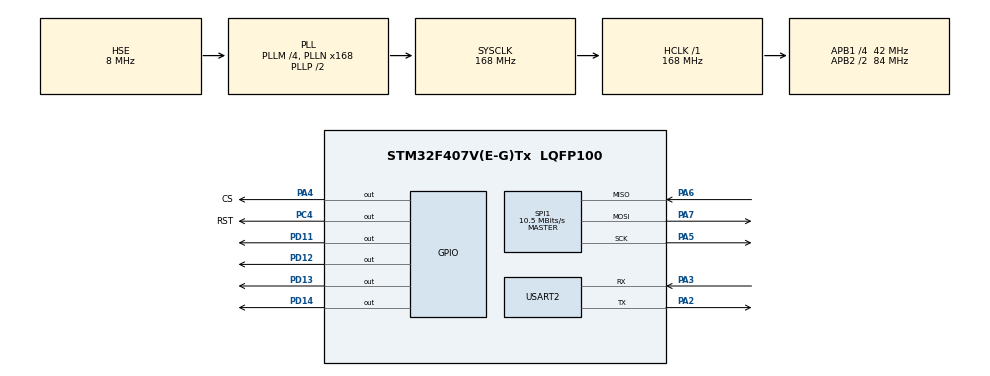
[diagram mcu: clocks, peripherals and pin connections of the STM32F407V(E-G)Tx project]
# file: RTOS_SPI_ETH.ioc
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FREERTOS.Tasks01=defaultTask,40,128,StartDefaultTask,Default,NULL,Dynamic,NULL,NULL;myTask02,24,128,StartTask02,Default,NULL,Dynamic,NULL,NULL;myTask03,8,128,StartTask03,Default,NULL,Dynamic,NULL,NULL
Mcu.Family=STM32F4
Mcu.Name=STM32F407V(E-G)Tx
Mcu.Package=LQFP100
NVIC.PriorityGroup=NVIC_PRIORITYGROUP_4
NVIC.TIM6_DAC_IRQn=true\:15\:0\:false\:false\:true\:false\:false\:true
NVIC.TimeBase=TIM6_DAC_IRQn
NVIC.TimeBaseIP=TIM6
PA13.Mode=Serial_Wire
PA13.Signal=SYS_JTMS-SWDIO
PA14.Mode=Serial_Wire
PA14.Signal=SYS_JTCK-SWCLK
PA2.Mode=Asynchronous
PA2.Signal=USART2_TX
PA3.Mode=Asynchronous
PA3.Signal=USART2_RX
PA4.GPIO_Label=CS
PA4.Signal=GPIO_Output
PA5.Mode=Full_Duplex_Master
PA5.Signal=SPI1_SCK
PA6.Mode=Full_Duplex_Master
PA6.Signal=SPI1_MISO
PA7.Mode=Full_Duplex_Master
PA7.Signal=SPI1_MOSI
PC4.GPIO_Label=RST
PC4.Signal=GPIO_Output
PD11.Signal=GPIO_Output
PD12.Signal=GPIO_Output
PD13.Signal=GPIO_Output
PD14.Signal=GPIO_Output
PH0-OSC_IN.Mode=HSE-External-Oscillator
PH0-OSC_IN.Signal=RCC_OSC_IN
PH1-OSC_OUT.Mode=HSE-External-Oscillator
PH1-OSC_OUT.Signal=RCC_OSC_OUT
ProjectManager.HeapSize=0x200
ProjectManager.StackSize=0x400
ProjectManager.TargetToolchain=SW4STM32
RCC.48MHZClocksFreq_Value=84000000
RCC.AHBFreq_Value=168000000
RCC.APB1CLKDivider=RCC_HCLK_DIV4
RCC.APB1Freq_Value=42000000
RCC.APB1TimFreq_Value=84000000
RCC.APB2CLKDivider=RCC_HCLK_DIV2
RCC.APB2Freq_Value=84000000
RCC.APB2TimFreq_Value=168000000
RCC.CortexFreq_Value=168000000
RCC.HCLKFreq_Value=168000000
RCC.HSE_VALUE=8000000
RCC.HSI_VALUE=16000000
RCC.LSE_VALUE=32768
RCC.PLLM=4
RCC.PLLN=168
RCC.PLLSourceVirtual=RCC_PLLSOURCE_HSE
RCC.SYSCLKFreq_VALUE=168000000
RCC.SYSCLKSource=RCC_SYSCLKSOURCE_PLLCLK
RCC.VCOOutputFreq_Value=336000000
SPI1.BaudRatePrescaler=SPI_BAUDRATEPRESCALER_8
SPI1.CalculateBaudRate=10.5 MBits/s
SPI1.Direction=SPI_DIRECTION_2LINES
SPI1.Mode=SPI_MODE_MASTER
SPI1.VirtualType=VM_MASTER
USART2.VirtualMode=VM_ASYNC
VP_FREERTOS_VS_CMSIS_V2.Mode=CMSIS_V2
VP_SYS_VS_tim6.Mode=TIM6
board=custom

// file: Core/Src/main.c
/* USER CODE BEGIN Header */
/**
 ******************************************************************************
 * @file           : main.c
 * @brief          : Main program body
 ******************************************************************************
 * @attention
 *
 * <h2><center>&copy; Copyright (c) 2021 STMicroelectronics.
 * All rights reserved.</center></h2>
 *
 * This software component is licensed by ST under Ultimate Liberty license
 * SLA0044, the "License"; You may not use this file except in compliance with
 * the License. You may obtain a copy of the License at:
 *                             www.st.com/SLA0044
 *
 ******************************************************************************
 */
/* USER CODE END Header */
#include "main.h"
#include "cmsis_os.h"

/* USER CODE BEGIN Includes */
#include <string.h>
#include "STM_ENC28_J60.h"
#include <stdio.h>
/* USER CODE END Includes */

SPI_HandleTypeDef hspi1;

UART_HandleTypeDef huart2;

/* Definitions for defaultTask */
osThreadId_t defaultTaskHandle;
const osThreadAttr_t defaultTask_attributes = { .name = "defaultTask",
		.stack_size = 128 * 4, .priority = (osPriority_t) osPriorityHigh, };
/* Definitions for myTask02 */
osThreadId_t myTask02Handle;
const osThreadAttr_t myTask02_attributes = { .name = "myTask02", .stack_size =
		128 * 4, .priority = (osPriority_t) osPriorityNormal, };
/* Definitions for myTask03 */
osThreadId_t myTask03Handle;
const osThreadAttr_t myTask03_attributes = { .name = "myTask03", .stack_size =
		128 * 4, .priority = (osPriority_t) osPriorityLow, };

void SystemClock_Config(void);
static void MX_GPIO_Init(void);
static void MX_USART2_UART_Init(void);
static void MX_SPI1_Init(void);
void StartDefaultTask(void *argument);
void StartTask02(void *argument);
void StartTask03(void *argument);

/* USER CODE BEGIN 0 */
char msg[50] = "System is ok\r\n";
uint8_t spiData[2];

uint8_t MAC[6];

uint8_t ARP_req[42] = {0xff,0xff,0xff,0xff,0xff,0xff, 0x74,0x69,0x69,0x2D,0x30,0x36, 0x08,0x06, 0x00,0x01,
						0x08,0x00,0x06,0x04,0x00,0x01, 0x74,0x69,0x69,0x2D,0x30,0x36, 0xc0,0xa8,0x01,100,
						0x00,0x00,0x00,0x00,0x00,0x00, 0xc0, 0xa8, 0x01, 1 };

/* USER CODE END 0 */

int main(void) {

	/* MCU Configuration--------------------------------------------------------*/

	/* Reset of all peripherals, Initializes the Flash interface and the Systick. */
	HAL_Init();

	/* Configure the system clock */
	SystemClock_Config();

	/* Initialize all configured peripherals */
	MX_GPIO_Init();
	MX_USART2_UART_Init();
	MX_SPI1_Init();
	/* USER CODE BEGIN 2 */
	//ENC28_Init();
	/* USER CODE END 2 */

	/* Init scheduler */
	osKernelInitialize();

	/* Create the thread(s) */
	/* creation of defaultTask */
	defaultTaskHandle = osThreadNew(StartDefaultTask, NULL,
			&defaultTask_attributes);

	/* creation of myTask02 */
	myTask02Handle = osThreadNew(StartTask02, NULL, &myTask02_attributes);

	/* creation of myTask03 */
	myTask03Handle = osThreadNew(StartTask03, NULL, &myTask03_attributes);

	/* Start scheduler */
	osKernelStart();

	/* We should never get here as control is now taken by the scheduler */
	/* Infinite loop */
	while (1) {

	}
}

void SystemClock_Config(void) {
	RCC_OscInitTypeDef RCC_OscInitStruct = { 0 };
	RCC_ClkInitTypeDef RCC_ClkInitStruct = { 0 };

	/** Configure the main internal regulator output voltage
	 */
	__HAL_RCC_PWR_CLK_ENABLE()
	;
	__HAL_PWR_VOLTAGESCALING_CONFIG(PWR_REGULATOR_VOLTAGE_SCALE1);
	/** Initializes the RCC Oscillators according to the specified parameters
	 * in the RCC_OscInitTypeDef structure.
	 */
	RCC_OscInitStruct.OscillatorType = RCC_OSCILLATORTYPE_HSE;
	RCC_OscInitStruct.HSEState = RCC_HSE_ON;
	RCC_OscInitStruct.PLL.PLLState = RCC_PLL_ON;
	RCC_OscInitStruct.PLL.PLLSource = RCC_PLLSOURCE_HSE;
	RCC_OscInitStruct.PLL.PLLM = 4;
	RCC_OscInitStruct.PLL.PLLN = 168;
	RCC_OscInitStruct.PLL.PLLP = RCC_PLLP_DIV2;
	RCC_OscInitStruct.PLL.PLLQ = 4;
	if (HAL_RCC_OscConfig(&RCC_OscInitStruct) != HAL_OK) {
		Error_Handler();
	}
	/** Initializes the CPU, AHB and APB buses clocks
	 */
	RCC_ClkInitStruct.ClockType = RCC_CLOCKTYPE_HCLK | RCC_CLOCKTYPE_SYSCLK
			| RCC_CLOCKTYPE_PCLK1 | RCC_CLOCKTYPE_PCLK2;
	RCC_ClkInitStruct.SYSCLKSource = RCC_SYSCLKSOURCE_PLLCLK;
	RCC_ClkInitStruct.AHBCLKDivider = RCC_SYSCLK_DIV1;
	RCC_ClkInitStruct.APB1CLKDivider = RCC_HCLK_DIV4;
	RCC_ClkInitStruct.APB2CLKDivider = RCC_HCLK_DIV2;

	if (HAL_RCC_ClockConfig(&RCC_ClkInitStruct, FLASH_LATENCY_5) != HAL_OK) {
		Error_Handler();
	}
}

static void MX_SPI1_Init(void) {

	/* SPI1 parameter configuration*/
	hspi1.Instance = SPI1;
	hspi1.Init.Mode = SPI_MODE_MASTER;
	hspi1.Init.Direction = SPI_DIRECTION_2LINES;
	hspi1.Init.DataSize = SPI_DATASIZE_8BIT;
	hspi1.Init.CLKPolarity = SPI_POLARITY_LOW;
	hspi1.Init.CLKPhase = SPI_PHASE_1EDGE;
	hspi1.Init.NSS = SPI_NSS_SOFT;
	hspi1.Init.BaudRatePrescaler = SPI_BAUDRATEPRESCALER_8;
	hspi1.Init.FirstBit = SPI_FIRSTBIT_MSB;
	hspi1.Init.TIMode = SPI_TIMODE_DISABLE;
	hspi1.Init.CRCCalculation = SPI_CRCCALCULATION_DISABLE;
	hspi1.Init.CRCPolynomial = 10;
	if (HAL_SPI_Init(&hspi1) != HAL_OK) {
		Error_Handler();
	}

}

static void MX_USART2_UART_Init(void) {

	huart2.Instance = USART2;
	huart2.Init.BaudRate = 115200;
	huart2.Init.WordLength = UART_WORDLENGTH_8B;
	huart2.Init.StopBits = UART_STOPBITS_1;
	huart2.Init.Parity = UART_PARITY_NONE;
	huart2.Init.Mode = UART_MODE_TX_RX;
	huart2.Init.HwFlowCtl = UART_HWCONTROL_NONE;
	huart2.Init.OverSampling = UART_OVERSAMPLING_16;
	if (HAL_UART_Init(&huart2) != HAL_OK) {
		Error_Handler();
	}

}

static void MX_GPIO_Init(void) {
	GPIO_InitTypeDef GPIO_InitStruct = { 0 };

	/* GPIO Ports Clock Enable */
	__HAL_RCC_GPIOH_CLK_ENABLE()
	;
	__HAL_RCC_GPIOA_CLK_ENABLE()
	;
	__HAL_RCC_GPIOC_CLK_ENABLE()
	;
	__HAL_RCC_GPIOD_CLK_ENABLE()
	;

	/*Configure GPIO pin Output Level */
	HAL_GPIO_WritePin(CS_GPIO_Port, CS_Pin, GPIO_PIN_RESET);

	/*Configure GPIO pin Output Level */
	HAL_GPIO_WritePin(RST_GPIO_Port, RST_Pin, GPIO_PIN_RESET);

	/*Configure GPIO pin Output Level */
	HAL_GPIO_WritePin(GPIOD,
			GPIO_PIN_11 | GPIO_PIN_12 | GPIO_PIN_13 | GPIO_PIN_14,
			GPIO_PIN_RESET);

	/*Configure GPIO pin : CS_Pin */
	GPIO_InitStruct.Pin = CS_Pin;
	GPIO_InitStruct.Mode = GPIO_MODE_OUTPUT_PP;
	GPIO_InitStruct.Pull = GPIO_NOPULL;
	GPIO_InitStruct.Speed = GPIO_SPEED_FREQ_LOW;
	HAL_GPIO_Init(CS_GPIO_Port, &GPIO_InitStruct);

	/*Configure GPIO pin : RST_Pin */
	GPIO_InitStruct.Pin = RST_Pin;
	GPIO_InitStruct.Mode = GPIO_MODE_OUTPUT_PP;
	GPIO_InitStruct.Pull = GPIO_NOPULL;
	GPIO_InitStruct.Speed = GPIO_SPEED_FREQ_LOW;
	HAL_GPIO_Init(RST_GPIO_Port, &GPIO_InitStruct);

	/*Configure GPIO pins : PD11 PD12 PD13 PD14 */
	GPIO_InitStruct.Pin = GPIO_PIN_11 | GPIO_PIN_12 | GPIO_PIN_13 | GPIO_PIN_14;
	GPIO_InitStruct.Mode = GPIO_MODE_OUTPUT_PP;
	GPIO_InitStruct.Pull = GPIO_NOPULL;
	GPIO_InitStruct.Speed = GPIO_SPEED_FREQ_LOW;
	HAL_GPIO_Init(GPIOD, &GPIO_InitStruct);

}

void StartDefaultTask(void *argument) {
	/* USER CODE BEGIN 5 */
	/* Infinite loop */

	HAL_UART_Transmit(&huart2, (uint8_t *) msg, strlen(msg), 100);
	HAL_GPIO_TogglePin(GPIOD, GPIO_PIN_12);
	HAL_Delay(1000);
	HAL_GPIO_TogglePin(GPIOD, GPIO_PIN_12);

	for (;;) {
		osDelay(1);

	}
	/* USER CODE END 5 */
}

void StartTask02(void *argument) {
	/* USER CODE BEGIN StartTask02 */
	/* Infinite loop */
	ENC28_Init();
	for (;;) {
		osDelay(1000);
		HAL_GPIO_TogglePin(GPIOD, GPIO_PIN_13);

		MAC[0] = ENC28_readReg8(MAADR6);
		MAC[1] = ENC28_readReg8(MAADR5);
		MAC[2] = ENC28_readReg8(MAADR4);
		MAC[3] = ENC28_readReg8(MAADR3);
		MAC[4] = ENC28_readReg8(MAADR2);
		MAC[5] = ENC28_readReg8(MAADR1);

		sprintf((char *) msg, "MAC Address: %x, %x, %x, %x, %x, %x\n", MAC[0],
				MAC[1], MAC[2], MAC[3], MAC[4], MAC[5]);

		HAL_UART_Transmit(&huart2, (uint8_t *) msg, strlen(msg), 100);

		ENC28_packetSend(42, ARP_req);

	}
	/* USER CODE END StartTask02 */
}

void StartTask03(void *argument) {
	for (;;) {
		osDelay(1);
	}
}

void HAL_TIM_PeriodElapsedCallback(TIM_HandleTypeDef *htim) {
	if (htim->Instance == TIM6) {
		HAL_IncTick();
	}
}

void Error_Handler(void) {
	__disable_irq();
	while (1) {
	}
}

/************************ (C) COPYRIGHT STMicroelectronics *****END OF FILE****/
